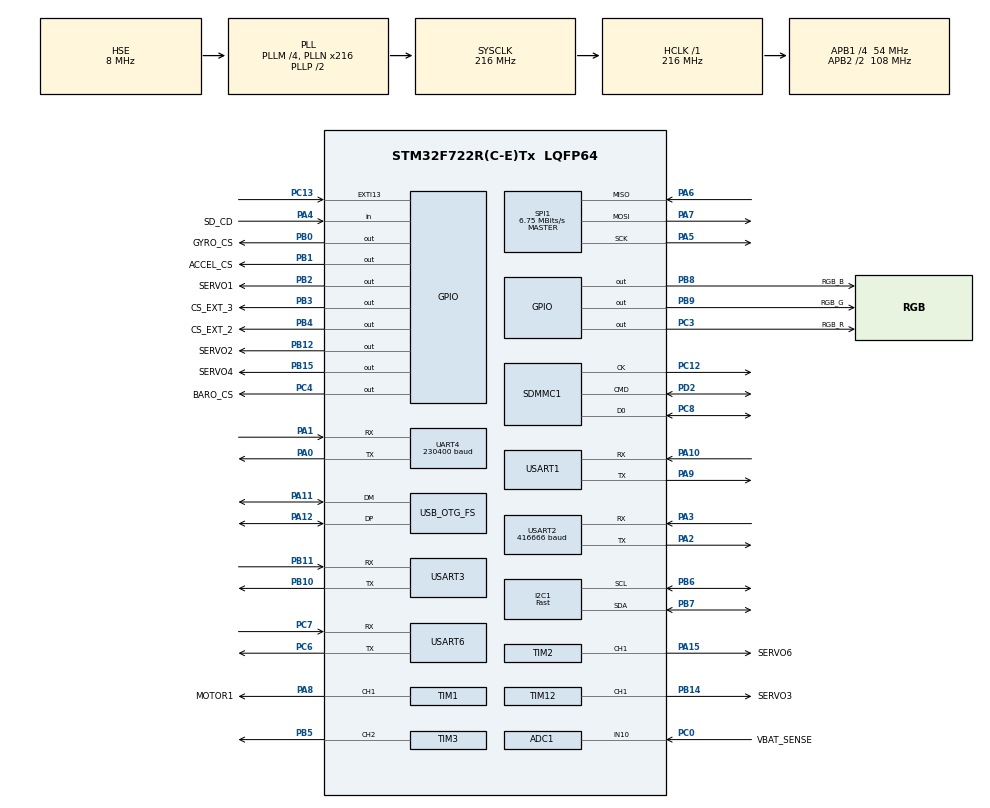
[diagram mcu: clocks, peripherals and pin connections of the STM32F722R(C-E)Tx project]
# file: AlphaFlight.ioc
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ADC1.Channel-3\#ChannelRegularConversion=ADC_CHANNEL_10
ADC1.NbrOfConversionFlag=1
ADC1.Rank-3\#ChannelRegularConversion=1
ADC1.SamplingTime-3\#ChannelRegularConversion=ADC_SAMPLETIME_3CYCLES
ADC1.master=1
CORTEX_M7.default_mode_Activation=1
Dma.Request0=USART2_RX
Dma.Request1=UART4_RX
Dma.Request2=USART2_TX
Dma.Request3=SDMMC1_TX
Dma.Request4=SPI1_RX
Dma.Request5=SPI1_TX
Dma.Request6=TIM1_CH1
Dma.SDMMC1_TX.3.Direction=DMA_MEMORY_TO_PERIPH
Dma.SDMMC1_TX.3.FIFOMode=DMA_FIFOMODE_ENABLE
Dma.SDMMC1_TX.3.FIFOThreshold=DMA_FIFO_THRESHOLD_FULL
Dma.SDMMC1_TX.3.Instance=DMA2_Stream6
Dma.SDMMC1_TX.3.MemBurst=DMA_MBURST_INC4
Dma.SDMMC1_TX.3.MemDataAlignment=DMA_MDATAALIGN_WORD
Dma.SDMMC1_TX.3.MemInc=DMA_MINC_ENABLE
Dma.SDMMC1_TX.3.Mode=DMA_PFCTRL
Dma.SDMMC1_TX.3.PeriphBurst=DMA_PBURST_INC4
Dma.SDMMC1_TX.3.PeriphDataAlignment=DMA_PDATAALIGN_WORD
Dma.SDMMC1_TX.3.PeriphInc=DMA_PINC_DISABLE
Dma.SDMMC1_TX.3.Priority=DMA_PRIORITY_HIGH
Dma.SPI1_RX.4.Direction=DMA_PERIPH_TO_MEMORY
Dma.SPI1_RX.4.FIFOMode=DMA_FIFOMODE_DISABLE
Dma.SPI1_RX.4.Instance=DMA2_Stream0
Dma.SPI1_RX.4.MemDataAlignment=DMA_MDATAALIGN_BYTE
Dma.SPI1_RX.4.MemInc=DMA_MINC_ENABLE
Dma.SPI1_RX.4.Mode=DMA_NORMAL
Dma.SPI1_RX.4.PeriphDataAlignment=DMA_PDATAALIGN_BYTE
Dma.SPI1_RX.4.PeriphInc=DMA_PINC_DISABLE
Dma.SPI1_RX.4.Priority=DMA_PRIORITY_VERY_HIGH
Dma.SPI1_TX.5.Direction=DMA_MEMORY_TO_PERIPH
Dma.SPI1_TX.5.FIFOMode=DMA_FIFOMODE_DISABLE
Dma.SPI1_TX.5.Instance=DMA2_Stream5
Dma.SPI1_TX.5.MemDataAlignment=DMA_MDATAALIGN_BYTE
Dma.SPI1_TX.5.MemInc=DMA_MINC_ENABLE
Dma.SPI1_TX.5.Mode=DMA_NORMAL
Dma.SPI1_TX.5.PeriphDataAlignment=DMA_PDATAALIGN_BYTE
Dma.SPI1_TX.5.PeriphInc=DMA_PINC_DISABLE
Dma.SPI1_TX.5.Priority=DMA_PRIORITY_VERY_HIGH
Dma.TIM1_CH1.6.Direction=DMA_MEMORY_TO_PERIPH
Dma.TIM1_CH1.6.FIFOMode=DMA_FIFOMODE_DISABLE
Dma.TIM1_CH1.6.Instance=DMA2_Stream1
Dma.TIM1_CH1.6.MemDataAlignment=DMA_MDATAALIGN_HALFWORD
Dma.TIM1_CH1.6.MemInc=DMA_MINC_ENABLE
Dma.TIM1_CH1.6.Mode=DMA_NORMAL
Dma.TIM1_CH1.6.PeriphDataAlignment=DMA_PDATAALIGN_HALFWORD
Dma.TIM1_CH1.6.PeriphInc=DMA_PINC_DISABLE
Dma.TIM1_CH1.6.Priority=DMA_PRIORITY_VERY_HIGH
Dma.UART4_RX.1.Direction=DMA_PERIPH_TO_MEMORY
Dma.UART4_RX.1.FIFOMode=DMA_FIFOMODE_DISABLE
Dma.UART4_RX.1.Instance=DMA1_Stream2
Dma.UART4_RX.1.MemDataAlignment=DMA_MDATAALIGN_BYTE
Dma.UART4_RX.1.MemInc=DMA_MINC_ENABLE
Dma.UART4_RX.1.Mode=DMA_CIRCULAR
Dma.UART4_RX.1.PeriphDataAlignment=DMA_PDATAALIGN_BYTE
Dma.UART4_RX.1.PeriphInc=DMA_PINC_DISABLE
Dma.UART4_RX.1.Priority=DMA_PRIORITY_HIGH
Dma.USART2_RX.0.Direction=DMA_PERIPH_TO_MEMORY
Dma.USART2_RX.0.FIFOMode=DMA_FIFOMODE_DISABLE
Dma.USART2_RX.0.Instance=DMA1_Stream5
Dma.USART2_RX.0.MemDataAlignment=DMA_MDATAALIGN_BYTE
Dma.USART2_RX.0.MemInc=DMA_MINC_ENABLE
Dma.USART2_RX.0.Mode=DMA_CIRCULAR
Dma.USART2_RX.0.PeriphDataAlignment=DMA_PDATAALIGN_BYTE
Dma.USART2_RX.0.PeriphInc=DMA_PINC_DISABLE
Dma.USART2_RX.0.Priority=DMA_PRIORITY_VERY_HIGH
Dma.USART2_TX.2.Direction=DMA_MEMORY_TO_PERIPH
Dma.USART2_TX.2.FIFOMode=DMA_FIFOMODE_DISABLE
Dma.USART2_TX.2.Instance=DMA1_Stream6
Dma.USART2_TX.2.MemDataAlignment=DMA_MDATAALIGN_BYTE
Dma.USART2_TX.2.MemInc=DMA_MINC_ENABLE
Dma.USART2_TX.2.Mode=DMA_NORMAL
Dma.USART2_TX.2.PeriphDataAlignment=DMA_PDATAALIGN_BYTE
Dma.USART2_TX.2.PeriphInc=DMA_PINC_DISABLE
Dma.USART2_TX.2.Priority=DMA_PRIORITY_MEDIUM
I2C1.I2C_Speed_Mode=I2C_Fast
I2C1.Timing=0x6000030D
Mcu.Family=STM32F7
Mcu.Name=STM32F722R(C-E)Tx
Mcu.Package=LQFP64
NVIC.DMA1_Stream2_IRQn=true\:0\:0\:false\:false\:true\:false\:true\:true
NVIC.DMA1_Stream5_IRQn=true\:0\:0\:false\:false\:true\:false\:true\:true
NVIC.DMA1_Stream6_IRQn=true\:0\:0\:false\:false\:true\:false\:true\:true
NVIC.DMA2_Stream0_IRQn=true\:0\:0\:false\:false\:true\:false\:true\:true
NVIC.DMA2_Stream1_IRQn=true\:0\:0\:false\:false\:true\:false\:true\:true
NVIC.DMA2_Stream5_IRQn=true\:0\:0\:false\:false\:true\:false\:true\:true
NVIC.DMA2_Stream6_IRQn=true\:0\:0\:false\:false\:true\:false\:true\:true
NVIC.EXTI15_10_IRQn=true\:0\:0\:false\:false\:true\:true\:true\:true
NVIC.OTG_FS_IRQn=true\:0\:0\:false\:false\:true\:false\:true\:true
NVIC.PriorityGroup=NVIC_PRIORITYGROUP_4
NVIC.SDMMC1_IRQn=true\:0\:0\:false\:false\:true\:true\:true\:true
NVIC.TIM1_UP_TIM10_IRQn=true\:0\:0\:false\:false\:true\:true\:true\:true
NVIC.UART4_IRQn=true\:0\:0\:false\:false\:true\:true\:true\:true
NVIC.USART2_IRQn=true\:0\:0\:false\:false\:true\:true\:true\:true
PA0-WKUP.Mode=Asynchronous
PA0-WKUP.Signal=UART4_TX
PA1.Mode=Asynchronous
PA1.Signal=UART4_RX
PA10.Mode=Asynchronous
PA10.Signal=USART1_RX
PA11.Mode=Device_Only
PA11.Signal=USB_OTG_FS_DM
PA12.Mode=Device_Only
PA12.Signal=USB_OTG_FS_DP
PA13.Mode=Serial_Wire
PA13.Signal=SYS_JTMS-SWDIO
PA14.Mode=Serial_Wire
PA14.Signal=SYS_JTCK-SWCLK
PA15.GPIO_Label=SERVO6
PA15.Signal=S_TIM2_CH1_ETR
PA2.Mode=Asynchronous
PA2.Signal=USART2_TX
PA3.Mode=Asynchronous
PA3.Signal=USART2_RX
PA4.GPIO_Label=SD_CD
PA4.GPIO_PuPd=GPIO_PULLUP
PA4.Signal=GPIO_Input
PA5.Mode=Full_Duplex_Master
PA5.Signal=SPI1_SCK
PA6.Mode=Full_Duplex_Master
PA6.Signal=SPI1_MISO
PA7.Mode=Full_Duplex_Master
PA7.Signal=SPI1_MOSI
PA8.GPIO_Label=MOTOR1
PA8.Signal=S_TIM1_CH1
PA9.Mode=Asynchronous
PA9.Signal=USART1_TX
PB0.GPIO_Label=GYRO_CS
PB0.GPIO_PuPd=GPIO_NOPULL
PB0.PinState=GPIO_PIN_SET
PB0.Signal=GPIO_Output
PB1.GPIO_Label=ACCEL_CS
PB1.GPIO_PuPd=GPIO_NOPULL
PB1.PinState=GPIO_PIN_SET
PB1.Signal=GPIO_Output
PB10.Mode=Asynchronous
PB10.Signal=USART3_TX
PB11.Mode=Asynchronous
PB11.Signal=USART3_RX
PB12.GPIO_Label=SERVO2
PB12.GPIO_Speed=GPIO_SPEED_FREQ_VERY_HIGH
PB12.Signal=GPIO_Output
PB13.Signal=SPI2_SCK
PB14.GPIO_Label=SERVO3
PB14.Signal=S_TIM12_CH1
PB15.GPIO_Label=SERVO4
PB15.GPIO_Speed=GPIO_SPEED_FREQ_VERY_HIGH
PB15.Signal=GPIO_Output
PB2.GPIO_Label=SERVO1
PB2.Signal=GPIO_Output
PB3.GPIO_Label=CS_EXT_3
PB3.GPIO_PuPd=GPIO_PULLUP
PB3.PinState=GPIO_PIN_SET
PB3.Signal=GPIO_Output
PB4.GPIO_Label=CS_EXT_2
PB4.GPIO_PuPd=GPIO_PULLUP
PB4.PinState=GPIO_PIN_SET
PB4.Signal=GPIO_Output
PB5.Signal=S_TIM3_CH2
PB6.Mode=I2C
PB6.Signal=I2C1_SCL
PB7.Mode=I2C
PB7.Signal=I2C1_SDA
PB8.GPIO_Label=RGB_B
PB8.GPIO_ModeDefaultOutputPP=GPIO_MODE_OUTPUT_OD
PB8.GPIO_PuPd=GPIO_NOPULL
PB8.PinState=GPIO_PIN_SET
PB8.Signal=GPIO_Output
PB9.GPIO_Label=RGB_G
PB9.GPIO_ModeDefaultOutputPP=GPIO_MODE_OUTPUT_OD
PB9.GPIO_PuPd=GPIO_NOPULL
PB9.PinState=GPIO_PIN_SET
PB9.Signal=GPIO_Output
PC0.GPIO_Label=VBAT_SENSE
PC0.Signal=ADCx_IN10
PC1.Signal=SPI2_MOSI
PC10.Signal=SDMMC1_D2
PC11.Signal=SDMMC1_D3
PC12.Mode=SD_1_bit
PC12.Signal=SDMMC1_CK
PC13.GPIO_ModeDefaultEXTI=GPIO_MODE_IT_FALLING
PC13.GPIO_PuPd=GPIO_PULLUP
PC13.Signal=GPXTI13
PC2.Signal=SPI2_MISO
PC3.GPIO_Label=RGB_R
PC3.GPIO_ModeDefaultOutputPP=GPIO_MODE_OUTPUT_OD
PC3.GPIO_PuPd=GPIO_NOPULL
PC3.PinState=GPIO_PIN_SET
PC3.Signal=GPIO_Output
PC4.GPIO_Label=BARO_CS
PC4.GPIO_PuPd=GPIO_PULLUP
PC4.PinState=GPIO_PIN_SET
PC4.Signal=GPIO_Output
PC6.Mode=Asynchronous
PC6.Signal=USART6_TX
PC7.Mode=Asynchronous
PC7.Signal=USART6_RX
PC8.Mode=SD_1_bit
PC8.Signal=SDMMC1_D0
PC9.Signal=SDMMC1_D1
PD2.Mode=SD_1_bit
PD2.Signal=SDMMC1_CMD
PH0-OSC_IN.Mode=HSE-External-Clock-Source
PH0-OSC_IN.Signal=RCC_OSC_IN
PH1-OSC_OUT.Mode=HSE-External-Clock-Source
PH1-OSC_OUT.Signal=RCC_OSC_OUT
ProjectManager.HeapSize=0x400
ProjectManager.StackSize=0x800
ProjectManager.TargetToolchain=STM32CubeIDE
RCC.AHBFreq_Value=216000000
RCC.APB1CLKDivider=RCC_HCLK_DIV4
RCC.APB1Freq_Value=54000000
RCC.APB1TimFreq_Value=108000000
RCC.APB2CLKDivider=RCC_HCLK_DIV2
RCC.APB2Freq_Value=108000000
RCC.APB2TimFreq_Value=216000000
RCC.CortexFreq_Value=216000000
RCC.EnbaleCSS=true
RCC.HCLKFreq_Value=216000000
RCC.HSE_VALUE=8000000
RCC.HSI_VALUE=16000000
RCC.LSE_VALUE=32768
RCC.PLLM=4
RCC.PLLN=216
RCC.PLLQ=9
RCC.SDMMCClockSelection=RCC_SDMMC1CLKSOURCE_CLK48
RCC.SYSCLKFreq_VALUE=216000000
RCC.SYSCLKSource=RCC_SYSCLKSOURCE_PLLCLK
RCC.USBFreq_Value=48000000
RCC.VCOOutputFreq_Value=432000000
SDMMC1.ClockDiv=4
SH.ADCx_IN10.0=ADC1_IN10,IN10
SH.S_TIM12_CH1.0=TIM12_CH1,PWM Generation1 CH1
SH.S_TIM1_CH1.0=TIM1_CH1,PWM Generation1 CH1
SH.S_TIM2_CH1_ETR.0=TIM2_CH1,PWM Generation1 CH1
SH.S_TIM3_CH2.0=TIM3_CH2,PWM Generation2 CH2
SPI1.BaudRatePrescaler=SPI_BAUDRATEPRESCALER_16
SPI1.CalculateBaudRate=6.75 MBits/s
SPI1.DataSize=SPI_DATASIZE_8BIT
SPI1.Direction=SPI_DIRECTION_2LINES
SPI1.Mode=SPI_MODE_MASTER
SPI1.VirtualType=VM_MASTER
TIM1.AutoReloadPreload=TIM_AUTORELOAD_PRELOAD_ENABLE
TIM1.Channel-PWM\ Generation1\ CH1=TIM_CHANNEL_1
TIM1.OCFastMode_PWM-PWM\ Generation1\ CH1=TIM_OCFAST_DISABLE
TIM1.Period=360
TIM1.Prescaler=0
TIM10.AutoReloadPreload=TIM_AUTORELOAD_PRELOAD_ENABLE
TIM10.Channel=TIM_CHANNEL_1
TIM10.Period=20000
TIM10.Prescaler=215
TIM12.AutoReloadPreload=TIM_AUTORELOAD_PRELOAD_ENABLE
TIM12.Channel-PWM\ Generation1\ CH1=TIM_CHANNEL_1
TIM12.Period=19999
TIM12.Prescaler=107
TIM2.AutoReloadPreload=TIM_AUTORELOAD_PRELOAD_ENABLE
TIM2.Channel-PWM\ Generation1\ CH1=TIM_CHANNEL_1
TIM2.Period=19999
TIM2.Prescaler=107
TIM3.Channel-PWM\ Generation2\ CH2=TIM_CHANNEL_2
TIM5.Prescaler=107
UART4.BaudRate=230400
USART1.VirtualMode-Asynchronous=VM_ASYNC
USART2.BaudRate=416666
USART2.VirtualMode-Asynchronous=VM_ASYNC
USART3.VirtualMode-Asynchronous=VM_ASYNC
USART6.VirtualMode=VM_ASYNC
USB_DEVICE.CLASS_NAME_FS=CDC
USB_DEVICE.VirtualMode-CDC_FS=Cdc
USB_DEVICE.VirtualModeFS=Cdc_FS
USB_OTG_FS.VirtualMode=Device_Only
VP_CRC_VS_CRC.Mode=CRC_Activate
VP_TIM10_VS_ClockSourceINT.Mode=Enable_Timer
VP_TIM10_VS_no_output1.Mode=Output Compare1 No Output
VP_TIM12_VS_ClockSourceINT.Mode=Internal
VP_TIM1_VS_ClockSourceINT.Mode=Internal
VP_TIM2_VS_ClockSourceINT.Mode=Internal
VP_TIM3_VS_ClockSourceINT.Mode=Internal
VP_TIM5_VS_ClockSourceINT.Mode=Internal
VP_USB_DEVICE_VS_USB_DEVICE_CDC_FS.Mode=CDC_FS
board=custom

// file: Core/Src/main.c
/* USER CODE BEGIN Header */
/**
  ******************************************************************************
  * @file           : main.c
  * @brief          : Main program body
  ******************************************************************************
  * @attention
  *
  * Copyright (c) 2025 STMicroelectronics.
  * All rights reserved.
  *
  * This software is licensed under terms that can be found in the LICENSE file
  * in the root directory of this software component.
  * If no LICENSE file comes with this software, it is provided AS-IS.
  *
  ******************************************************************************
  */
/* USER CODE END Header */
#include "main.h"
#include "usb_device.h"

ADC_HandleTypeDef hadc1;

CRC_HandleTypeDef hcrc;

I2C_HandleTypeDef hi2c1;

SD_HandleTypeDef hsd1;
DMA_HandleTypeDef hdma_sdmmc1_tx;

TIM_HandleTypeDef htim1;
TIM_HandleTypeDef htim2;
TIM_HandleTypeDef htim3;
TIM_HandleTypeDef htim5;
TIM_HandleTypeDef htim10;
TIM_HandleTypeDef htim12;
DMA_HandleTypeDef hdma_tim1_ch1;

UART_HandleTypeDef huart4;
UART_HandleTypeDef huart1;
UART_HandleTypeDef huart2;
UART_HandleTypeDef huart3;
UART_HandleTypeDef huart6;
DMA_HandleTypeDef hdma_uart4_rx;
DMA_HandleTypeDef hdma_usart2_rx;
DMA_HandleTypeDef hdma_usart2_tx;

void SystemClock_Config(void);
static void MPU_Config(void);
static void MX_GPIO_Init(void);
static void MX_DMA_Init(void);
static void MX_USART1_UART_Init(void);
static void MX_USART2_UART_Init(void);
static void MX_USART6_UART_Init(void);
static void MX_SPI1_Init(void);
static void MX_I2C1_Init(void);
static void MX_UART4_Init(void);
static void MX_USART3_UART_Init(void);
static void MX_ADC1_Init(void);
static void MX_TIM2_Init(void);
static void MX_TIM10_Init(void);
static void MX_TIM1_Init(void);
static void MX_TIM12_Init(void);
static void MX_TIM5_Init(void);
static void MX_SDMMC1_SD_Init(void);
static void MX_CRC_Init(void);
static void MX_TIM3_Init(void);

int main(void)
{

  /* MPU Configuration--------------------------------------------------------*/
  MPU_Config();

  /* MCU Configuration--------------------------------------------------------*/

  /* Reset of all peripherals, Initializes the Flash interface and the Systick. */
  HAL_Init();

  /* Configure the system clock */
  SystemClock_Config();

  /* Initialize all configured peripherals */
  MX_GPIO_Init();
  MX_DMA_Init();
  MX_USART1_UART_Init();
  MX_USART2_UART_Init();
  MX_USART6_UART_Init();
  MX_SPI1_Init();
  MX_I2C1_Init();
  MX_UART4_Init();
  MX_USART3_UART_Init();
  MX_ADC1_Init();
  MX_USB_DEVICE_Init();
  MX_TIM2_Init();
  MX_TIM10_Init();
  MX_TIM1_Init();
  MX_TIM12_Init();
  MX_TIM5_Init();
  MX_SDMMC1_SD_Init();
  MX_CRC_Init();
  MX_TIM3_Init();

  /* Infinite loop */
  /* USER CODE BEGIN WHILE */
  while (1)
  {

	  uint8_t tx_buf[7]; // your SPI command + dummy bytes
	  uint8_t rx_buf[7]; // buffer for gyro response

	  // RX
	  LL_DMA_DisableStream(DMA2, LL_DMA_STREAM_0);       // make sure disabled
	  LL_DMA_SetMemoryAddress(DMA2, LL_DMA_STREAM_0, (uint32_t)rx_buf);
	  LL_DMA_SetDataLength(DMA2, LL_DMA_STREAM_0, 7);
	  LL_DMA_EnableStream(DMA2, LL_DMA_STREAM_0);

	  // TX
	  LL_DMA_DisableStream(DMA2, LL_DMA_STREAM_5);
	  LL_DMA_SetMemoryAddress(DMA2, LL_DMA_STREAM_5, (uint32_t)tx_buf);
	  LL_DMA_SetDataLength(DMA2, LL_DMA_STREAM_5, 7);
	  LL_DMA_EnableStream(DMA2, LL_DMA_STREAM_5);

	  LL_SPI_EnableDMAReq_RX(SPI1); // allow SPI to trigger RX DMA
	  LL_SPI_EnableDMAReq_TX(SPI1); // allow SPI to trigger TX DMA
	  LL_SPI_Enable(SPI1);           // SPI peripheral starts

	  // on every tick
	  LL_DMA_SetDataLength(DMA2, LL_DMA_STREAM_0, 7);
	  LL_DMA_EnableStream(DMA2, LL_DMA_STREAM_0);

	  LL_DMA_SetDataLength(DMA2, LL_DMA_STREAM_5, 7);
	  LL_DMA_EnableStream(DMA2, LL_DMA_STREAM_5);
    /* USER CODE END WHILE */

  }
}

void SystemClock_Config(void)
{
  RCC_OscInitTypeDef RCC_OscInitStruct = {0};
  RCC_ClkInitTypeDef RCC_ClkInitStruct = {0};

  /** Configure the main internal regulator output voltage
  */
  __HAL_RCC_PWR_CLK_ENABLE();
  __HAL_PWR_VOLTAGESCALING_CONFIG(PWR_REGULATOR_VOLTAGE_SCALE1);

  /** Initializes the RCC Oscillators according to the specified parameters
  * in the RCC_OscInitTypeDef structure.
  */
  RCC_OscInitStruct.OscillatorType = RCC_OSCILLATORTYPE_HSE;
  RCC_OscInitStruct.HSEState = RCC_HSE_BYPASS;
  RCC_OscInitStruct.PLL.PLLState = RCC_PLL_ON;
  RCC_OscInitStruct.PLL.PLLSource = RCC_PLLSOURCE_HSE;
  RCC_OscInitStruct.PLL.PLLM = 4;
  RCC_OscInitStruct.PLL.PLLN = 216;
  RCC_OscInitStruct.PLL.PLLP = RCC_PLLP_DIV2;
  RCC_OscInitStruct.PLL.PLLQ = 9;
  if (HAL_RCC_OscConfig(&RCC_OscInitStruct) != HAL_OK)
  {
    Error_Handler();
  }

  /** Activate the Over-Drive mode
  */
  if (HAL_PWREx_EnableOverDrive() != HAL_OK)
  {
    Error_Handler();
  }

  /** Initializes the CPU, AHB and APB buses clocks
  */
  RCC_ClkInitStruct.ClockType = RCC_CLOCKTYPE_HCLK|RCC_CLOCKTYPE_SYSCLK
                              |RCC_CLOCKTYPE_PCLK1|RCC_CLOCKTYPE_PCLK2;
  RCC_ClkInitStruct.SYSCLKSource = RCC_SYSCLKSOURCE_PLLCLK;
  RCC_ClkInitStruct.AHBCLKDivider = RCC_SYSCLK_DIV1;
  RCC_ClkInitStruct.APB1CLKDivider = RCC_HCLK_DIV4;
  RCC_ClkInitStruct.APB2CLKDivider = RCC_HCLK_DIV2;

  if (HAL_RCC_ClockConfig(&RCC_ClkInitStruct, FLASH_LATENCY_7) != HAL_OK)
  {
    Error_Handler();
  }

  /** Enables the Clock Security System
  */
  HAL_RCC_EnableCSS();
}

static void MX_ADC1_Init(void)
{

  ADC_ChannelConfTypeDef sConfig = {0};

  /** Configure the global features of the ADC (Clock, Resolution, Data Alignment and number of conversion)
  */
  hadc1.Instance = ADC1;
  hadc1.Init.ClockPrescaler = ADC_CLOCK_SYNC_PCLK_DIV4;
  hadc1.Init.Resolution = ADC_RESOLUTION_12B;
  hadc1.Init.ScanConvMode = ADC_SCAN_DISABLE;
  hadc1.Init.ContinuousConvMode = DISABLE;
  hadc1.Init.DiscontinuousConvMode = DISABLE;
  hadc1.Init.ExternalTrigConvEdge = ADC_EXTERNALTRIGCONVEDGE_NONE;
  hadc1.Init.ExternalTrigConv = ADC_SOFTWARE_START;
  hadc1.Init.DataAlign = ADC_DATAALIGN_RIGHT;
  hadc1.Init.NbrOfConversion = 1;
  hadc1.Init.DMAContinuousRequests = DISABLE;
  hadc1.Init.EOCSelection = ADC_EOC_SINGLE_CONV;
  if (HAL_ADC_Init(&hadc1) != HAL_OK)
  {
    Error_Handler();
  }

  /** Configure for the selected ADC regular channel its corresponding rank in the sequencer and its sample time.
  */
  sConfig.Channel = ADC_CHANNEL_10;
  sConfig.Rank = ADC_REGULAR_RANK_1;
  sConfig.SamplingTime = ADC_SAMPLETIME_3CYCLES;
  if (HAL_ADC_ConfigChannel(&hadc1, &sConfig) != HAL_OK)
  {
    Error_Handler();
  }

}

static void MX_CRC_Init(void)
{

  hcrc.Instance = CRC;
  hcrc.Init.DefaultPolynomialUse = DEFAULT_POLYNOMIAL_ENABLE;
  hcrc.Init.DefaultInitValueUse = DEFAULT_INIT_VALUE_ENABLE;
  hcrc.Init.InputDataInversionMode = CRC_INPUTDATA_INVERSION_NONE;
  hcrc.Init.OutputDataInversionMode = CRC_OUTPUTDATA_INVERSION_DISABLE;
  hcrc.InputDataFormat = CRC_INPUTDATA_FORMAT_BYTES;
  if (HAL_CRC_Init(&hcrc) != HAL_OK)
  {
    Error_Handler();
  }

}

static void MX_I2C1_Init(void)
{

  hi2c1.Instance = I2C1;
  hi2c1.Init.Timing = 0x6000030D;
  hi2c1.Init.OwnAddress1 = 0;
  hi2c1.Init.AddressingMode = I2C_ADDRESSINGMODE_7BIT;
  hi2c1.Init.DualAddressMode = I2C_DUALADDRESS_DISABLE;
  hi2c1.Init.OwnAddress2 = 0;
  hi2c1.Init.OwnAddress2Masks = I2C_OA2_NOMASK;
  hi2c1.Init.GeneralCallMode = I2C_GENERALCALL_DISABLE;
  hi2c1.Init.NoStretchMode = I2C_NOSTRETCH_DISABLE;
  if (HAL_I2C_Init(&hi2c1) != HAL_OK)
  {
    Error_Handler();
  }

  /** Configure Analogue filter
  */
  if (HAL_I2CEx_ConfigAnalogFilter(&hi2c1, I2C_ANALOGFILTER_ENABLE) != HAL_OK)
  {
    Error_Handler();
  }

  /** Configure Digital filter
  */
  if (HAL_I2CEx_ConfigDigitalFilter(&hi2c1, 0) != HAL_OK)
  {
    Error_Handler();
  }

}

static void MX_SDMMC1_SD_Init(void)
{

  hsd1.Instance = SDMMC1;
  hsd1.Init.ClockEdge = SDMMC_CLOCK_EDGE_RISING;
  hsd1.Init.ClockBypass = SDMMC_CLOCK_BYPASS_DISABLE;
  hsd1.Init.ClockPowerSave = SDMMC_CLOCK_POWER_SAVE_DISABLE;
  hsd1.Init.BusWide = SDMMC_BUS_WIDE_1B;
  hsd1.Init.HardwareFlowControl = SDMMC_HARDWARE_FLOW_CONTROL_DISABLE;
  hsd1.Init.ClockDiv = 4;
  if (HAL_SD_Init(&hsd1) != HAL_OK)
  {
    Error_Handler();
  }

}

static void MX_SPI1_Init(void)
{

  LL_SPI_InitTypeDef SPI_InitStruct = {0};

  LL_GPIO_InitTypeDef GPIO_InitStruct = {0};

  /* Peripheral clock enable */
  LL_APB2_GRP1_EnableClock(LL_APB2_GRP1_PERIPH_SPI1);

  LL_AHB1_GRP1_EnableClock(LL_AHB1_GRP1_PERIPH_GPIOA);
  /**SPI1 GPIO Configuration
  PA5   ------> SPI1_SCK
  PA6   ------> SPI1_MISO
  PA7   ------> SPI1_MOSI
  */
  GPIO_InitStruct.Pin = LL_GPIO_PIN_5;
  GPIO_InitStruct.Mode = LL_GPIO_MODE_ALTERNATE;
  GPIO_InitStruct.Speed = LL_GPIO_SPEED_FREQ_VERY_HIGH;
  GPIO_InitStruct.OutputType = LL_GPIO_OUTPUT_PUSHPULL;
  GPIO_InitStruct.Pull = LL_GPIO_PULL_NO;
  GPIO_InitStruct.Alternate = LL_GPIO_AF_5;
  LL_GPIO_Init(GPIOA, &GPIO_InitStruct);

  GPIO_InitStruct.Pin = LL_GPIO_PIN_6;
  GPIO_InitStruct.Mode = LL_GPIO_MODE_ALTERNATE;
  GPIO_InitStruct.Speed = LL_GPIO_SPEED_FREQ_VERY_HIGH;
  GPIO_InitStruct.OutputType = LL_GPIO_OUTPUT_PUSHPULL;
  GPIO_InitStruct.Pull = LL_GPIO_PULL_NO;
  GPIO_InitStruct.Alternate = LL_GPIO_AF_5;
  LL_GPIO_Init(GPIOA, &GPIO_InitStruct);

  GPIO_InitStruct.Pin = LL_GPIO_PIN_7;
  GPIO_InitStruct.Mode = LL_GPIO_MODE_ALTERNATE;
  GPIO_InitStruct.Speed = LL_GPIO_SPEED_FREQ_VERY_HIGH;
  GPIO_InitStruct.OutputType = LL_GPIO_OUTPUT_PUSHPULL;
  GPIO_InitStruct.Pull = LL_GPIO_PULL_NO;
  GPIO_InitStruct.Alternate = LL_GPIO_AF_5;
  LL_GPIO_Init(GPIOA, &GPIO_InitStruct);

  /* SPI1 DMA Init */

  /* SPI1_RX Init */
  LL_DMA_SetChannelSelection(DMA2, LL_DMA_STREAM_0, LL_DMA_CHANNEL_3);

  LL_DMA_SetDataTransferDirection(DMA2, LL_DMA_STREAM_0, LL_DMA_DIRECTION_PERIPH_TO_MEMORY);

  LL_DMA_SetStreamPriorityLevel(DMA2, LL_DMA_STREAM_0, LL_DMA_PRIORITY_VERYHIGH);

  LL_DMA_SetMode(DMA2, LL_DMA_STREAM_0, LL_DMA_MODE_NORMAL);

  LL_DMA_SetPeriphIncMode(DMA2, LL_DMA_STREAM_0, LL_DMA_PERIPH_NOINCREMENT);

  LL_DMA_SetMemoryIncMode(DMA2, LL_DMA_STREAM_0, LL_DMA_MEMORY_INCREMENT);

  LL_DMA_SetPeriphSize(DMA2, LL_DMA_STREAM_0, LL_DMA_PDATAALIGN_BYTE);

  LL_DMA_SetMemorySize(DMA2, LL_DMA_STREAM_0, LL_DMA_MDATAALIGN_BYTE);

  LL_DMA_DisableFifoMode(DMA2, LL_DMA_STREAM_0);

  /* SPI1_TX Init */
  LL_DMA_SetChannelSelection(DMA2, LL_DMA_STREAM_5, LL_DMA_CHANNEL_3);

  LL_DMA_SetDataTransferDirection(DMA2, LL_DMA_STREAM_5, LL_DMA_DIRECTION_MEMORY_TO_PERIPH);

  LL_DMA_SetStreamPriorityLevel(DMA2, LL_DMA_STREAM_5, LL_DMA_PRIORITY_VERYHIGH);

  LL_DMA_SetMode(DMA2, LL_DMA_STREAM_5, LL_DMA_MODE_NORMAL);

  LL_DMA_SetPeriphIncMode(DMA2, LL_DMA_STREAM_5, LL_DMA_PERIPH_NOINCREMENT);

  LL_DMA_SetMemoryIncMode(DMA2, LL_DMA_STREAM_5, LL_DMA_MEMORY_INCREMENT);

  LL_DMA_SetPeriphSize(DMA2, LL_DMA_STREAM_5, LL_DMA_PDATAALIGN_BYTE);

  LL_DMA_SetMemorySize(DMA2, LL_DMA_STREAM_5, LL_DMA_MDATAALIGN_BYTE);

  LL_DMA_DisableFifoMode(DMA2, LL_DMA_STREAM_5);

  /* SPI1 parameter configuration*/
  SPI_InitStruct.TransferDirection = LL_SPI_FULL_DUPLEX;
  SPI_InitStruct.Mode = LL_SPI_MODE_MASTER;
  SPI_InitStruct.DataWidth = LL_SPI_DATAWIDTH_8BIT;
  SPI_InitStruct.ClockPolarity = LL_SPI_POLARITY_LOW;
  SPI_InitStruct.ClockPhase = LL_SPI_PHASE_1EDGE;
  SPI_InitStruct.NSS = LL_SPI_NSS_SOFT;
  SPI_InitStruct.BaudRate = LL_SPI_BAUDRATEPRESCALER_DIV16;
  SPI_InitStruct.BitOrder = LL_SPI_MSB_FIRST;
  SPI_InitStruct.CRCCalculation = LL_SPI_CRCCALCULATION_DISABLE;
  SPI_InitStruct.CRCPoly = 7;
  LL_SPI_Init(SPI1, &SPI_InitStruct);
  LL_SPI_SetStandard(SPI1, LL_SPI_PROTOCOL_MOTOROLA);
  LL_SPI_EnableNSSPulseMgt(SPI1);

}

static void MX_TIM1_Init(void)
{

  TIM_ClockConfigTypeDef sClockSourceConfig = {0};
  TIM_MasterConfigTypeDef sMasterConfig = {0};
  TIM_OC_InitTypeDef sConfigOC = {0};
  TIM_BreakDeadTimeConfigTypeDef sBreakDeadTimeConfig = {0};

  htim1.Instance = TIM1;
  htim1.Init.Prescaler = 0;
  htim1.Init.CounterMode = TIM_COUNTERMODE_UP;
  htim1.Init.Period = 360;
  htim1.Init.ClockDivision = TIM_CLOCKDIVISION_DIV1;
  htim1.Init.RepetitionCounter = 0;
  htim1.Init.AutoReloadPreload = TIM_AUTORELOAD_PRELOAD_ENABLE;
  if (HAL_TIM_Base_Init(&htim1) != HAL_OK)
  {
    Error_Handler();
  }
  sClockSourceConfig.ClockSource = TIM_CLOCKSOURCE_INTERNAL;
  if (HAL_TIM_ConfigClockSource(&htim1, &sClockSourceConfig) != HAL_OK)
  {
    Error_Handler();
  }
  if (HAL_TIM_PWM_Init(&htim1) != HAL_OK)
  {
    Error_Handler();
  }
  sMasterConfig.MasterOutputTrigger = TIM_TRGO_RESET;
  sMasterConfig.MasterOutputTrigger2 = TIM_TRGO2_RESET;
  sMasterConfig.MasterSlaveMode = TIM_MASTERSLAVEMODE_DISABLE;
  if (HAL_TIMEx_MasterConfigSynchronization(&htim1, &sMasterConfig) != HAL_OK)
  {
    Error_Handler();
  }
  sConfigOC.OCMode = TIM_OCMODE_PWM1;
  sConfigOC.Pulse = 0;
  sConfigOC.OCPolarity = TIM_OCPOLARITY_HIGH;
  sConfigOC.OCNPolarity = TIM_OCNPOLARITY_HIGH;
  sConfigOC.OCFastMode = TIM_OCFAST_DISABLE;
  sConfigOC.OCIdleState = TIM_OCIDLESTATE_RESET;
  sConfigOC.OCNIdleState = TIM_OCNIDLESTATE_RESET;
  if (HAL_TIM_PWM_ConfigChannel(&htim1, &sConfigOC, TIM_CHANNEL_1) != HAL_OK)
  {
    Error_Handler();
  }
  sBreakDeadTimeConfig.OffStateRunMode = TIM_OSSR_DISABLE;
  sBreakDeadTimeConfig.OffStateIDLEMode = TIM_OSSI_DISABLE;
  sBreakDeadTimeConfig.LockLevel = TIM_LOCKLEVEL_OFF;
  sBreakDeadTimeConfig.DeadTime = 0;
  sBreakDeadTimeConfig.BreakState = TIM_BREAK_DISABLE;
  sBreakDeadTimeConfig.BreakPolarity = TIM_BREAKPOLARITY_HIGH;
  sBreakDeadTimeConfig.BreakFilter = 0;
  sBreakDeadTimeConfig.Break2State = TIM_BREAK2_DISABLE;
  sBreakDeadTimeConfig.Break2Polarity = TIM_BREAK2POLARITY_HIGH;
  sBreakDeadTimeConfig.Break2Filter = 0;
  sBreakDeadTimeConfig.AutomaticOutput = TIM_AUTOMATICOUTPUT_DISABLE;
  if (HAL_TIMEx_ConfigBreakDeadTime(&htim1, &sBreakDeadTimeConfig) != HAL_OK)
  {
    Error_Handler();
  }
  HAL_TIM_MspPostInit(&htim1);

}

static void MX_TIM2_Init(void)
{

  TIM_ClockConfigTypeDef sClockSourceConfig = {0};
  TIM_MasterConfigTypeDef sMasterConfig = {0};
  TIM_OC_InitTypeDef sConfigOC = {0};

  htim2.Instance = TIM2;
  htim2.Init.Prescaler = 107;
  htim2.Init.CounterMode = TIM_COUNTERMODE_UP;
  htim2.Init.Period = 19999;
  htim2.Init.ClockDivision = TIM_CLOCKDIVISION_DIV1;
  htim2.Init.AutoReloadPreload = TIM_AUTORELOAD_PRELOAD_ENABLE;
  if (HAL_TIM_Base_Init(&htim2) != HAL_OK)
  {
    Error_Handler();
  }
  sClockSourceConfig.ClockSource = TIM_CLOCKSOURCE_INTERNAL;
  if (HAL_TIM_ConfigClockSource(&htim2, &sClockSourceConfig) != HAL_OK)
  {
    Error_Handler();
  }
  if (HAL_TIM_PWM_Init(&htim2) != HAL_OK)
  {
    Error_Handler();
  }
  sMasterConfig.MasterOutputTrigger = TIM_TRGO_RESET;
  sMasterConfig.MasterSlaveMode = TIM_MASTERSLAVEMODE_DISABLE;
  if (HAL_TIMEx_MasterConfigSynchronization(&htim2, &sMasterConfig) != HAL_OK)
  {
    Error_Handler();
  }
  sConfigOC.OCMode = TIM_OCMODE_PWM1;
  sConfigOC.Pulse = 0;
  sConfigOC.OCPolarity = TIM_OCPOLARITY_HIGH;
  sConfigOC.OCFastMode = TIM_OCFAST_DISABLE;
  if (HAL_TIM_PWM_ConfigChannel(&htim2, &sConfigOC, TIM_CHANNEL_1) != HAL_OK)
  {
    Error_Handler();
  }
  HAL_TIM_MspPostInit(&htim2);

}

static void MX_TIM3_Init(void)
{

  TIM_ClockConfigTypeDef sClockSourceConfig = {0};
  TIM_MasterConfigTypeDef sMasterConfig = {0};
  TIM_OC_InitTypeDef sConfigOC = {0};

  htim3.Instance = TIM3;
  htim3.Init.Prescaler = 0;
  htim3.Init.CounterMode = TIM_COUNTERMODE_UP;
  htim3.Init.Period = 65535;
  htim3.Init.ClockDivision = TIM_CLOCKDIVISION_DIV1;
  htim3.Init.AutoReloadPreload = TIM_AUTORELOAD_PRELOAD_DISABLE;
  if (HAL_TIM_Base_Init(&htim3) != HAL_OK)
  {
    Error_Handler();
  }
  sClockSourceConfig.ClockSource = TIM_CLOCKSOURCE_INTERNAL;
  if (HAL_TIM_ConfigClockSource(&htim3, &sClockSourceConfig) != HAL_OK)
  {
    Error_Handler();
  }
  if (HAL_TIM_PWM_Init(&htim3) != HAL_OK)
  {
    Error_Handler();
  }
  sMasterConfig.MasterOutputTrigger = TIM_TRGO_RESET;
  sMasterConfig.MasterSlaveMode = TIM_MASTERSLAVEMODE_DISABLE;
  if (HAL_TIMEx_MasterConfigSynchronization(&htim3, &sMasterConfig) != HAL_OK)
  {
    Error_Handler();
  }
  sConfigOC.OCMode = TIM_OCMODE_PWM1;
  sConfigOC.Pulse = 0;
  sConfigOC.OCPolarity = TIM_OCPOLARITY_HIGH;
  sConfigOC.OCFastMode = TIM_OCFAST_DISABLE;
  if (HAL_TIM_PWM_ConfigChannel(&htim3, &sConfigOC, TIM_CHANNEL_2) != HAL_OK)
  {
    Error_Handler();
  }
  HAL_TIM_MspPostInit(&htim3);

}

static void MX_TIM5_Init(void)
{

  TIM_ClockConfigTypeDef sClockSourceConfig = {0};
  TIM_MasterConfigTypeDef sMasterConfig = {0};

  htim5.Instance = TIM5;
  htim5.Init.Prescaler = 107;
  htim5.Init.CounterMode = TIM_COUNTERMODE_UP;
  htim5.Init.Period = 4294967295;
  htim5.Init.ClockDivision = TIM_CLOCKDIVISION_DIV1;
  htim5.Init.AutoReloadPreload = TIM_AUTORELOAD_PRELOAD_DISABLE;
  if (HAL_TIM_Base_Init(&htim5) != HAL_OK)
  {
    Error_Handler();
  }
  sClockSourceConfig.ClockSource = TIM_CLOCKSOURCE_INTERNAL;
  if (HAL_TIM_ConfigClockSource(&htim5, &sClockSourceConfig) != HAL_OK)
  {
    Error_Handler();
  }
  sMasterConfig.MasterOutputTrigger = TIM_TRGO_RESET;
  sMasterConfig.MasterSlaveMode = TIM_MASTERSLAVEMODE_DISABLE;
  if (HAL_TIMEx_MasterConfigSynchronization(&htim5, &sMasterConfig) != HAL_OK)
  {
    Error_Handler();
  }

}

static void MX_TIM10_Init(void)
{

  TIM_OC_InitTypeDef sConfigOC = {0};

  htim10.Instance = TIM10;
  htim10.Init.Prescaler = 215;
  htim10.Init.CounterMode = TIM_COUNTERMODE_UP;
  htim10.Init.Period = 20000;
  htim10.Init.ClockDivision = TIM_CLOCKDIVISION_DIV1;
  htim10.Init.AutoReloadPreload = TIM_AUTORELOAD_PRELOAD_ENABLE;
  if (HAL_TIM_Base_Init(&htim10) != HAL_OK)
  {
    Error_Handler();
  }
  if (HAL_TIM_OC_Init(&htim10) != HAL_OK)
  {
    Error_Handler();
  }
  sConfigOC.OCMode = TIM_OCMODE_TIMING;
  sConfigOC.Pulse = 0;
  sConfigOC.OCPolarity = TIM_OCPOLARITY_HIGH;
  sConfigOC.OCFastMode = TIM_OCFAST_DISABLE;
  if (HAL_TIM_OC_ConfigChannel(&htim10, &sConfigOC, TIM_CHANNEL_1) != HAL_OK)
  {
    Error_Handler();
  }

}

static void MX_TIM12_Init(void)
{

  TIM_ClockConfigTypeDef sClockSourceConfig = {0};
  TIM_OC_InitTypeDef sConfigOC = {0};

  htim12.Instance = TIM12;
  htim12.Init.Prescaler = 107;
  htim12.Init.CounterMode = TIM_COUNTERMODE_UP;
  htim12.Init.Period = 19999;
  htim12.Init.ClockDivision = TIM_CLOCKDIVISION_DIV1;
  htim12.Init.AutoReloadPreload = TIM_AUTORELOAD_PRELOAD_ENABLE;
  if (HAL_TIM_Base_Init(&htim12) != HAL_OK)
  {
    Error_Handler();
  }
  sClockSourceConfig.ClockSource = TIM_CLOCKSOURCE_INTERNAL;
  if (HAL_TIM_ConfigClockSource(&htim12, &sClockSourceConfig) != HAL_OK)
  {
    Error_Handler();
  }
  if (HAL_TIM_PWM_Init(&htim12) != HAL_OK)
  {
    Error_Handler();
  }
  sConfigOC.OCMode = TIM_OCMODE_PWM1;
  sConfigOC.Pulse = 0;
  sConfigOC.OCPolarity = TIM_OCPOLARITY_HIGH;
  sConfigOC.OCFastMode = TIM_OCFAST_DISABLE;
  if (HAL_TIM_PWM_ConfigChannel(&htim12, &sConfigOC, TIM_CHANNEL_1) != HAL_OK)
  {
    Error_Handler();
  }
  HAL_TIM_MspPostInit(&htim12);

}

static void MX_UART4_Init(void)
{

  huart4.Instance = UART4;
  huart4.Init.BaudRate = 230400;
  huart4.Init.WordLength = UART_WORDLENGTH_8B;
  huart4.Init.StopBits = UART_STOPBITS_1;
  huart4.Init.Parity = UART_PARITY_NONE;
  huart4.Init.Mode = UART_MODE_TX_RX;
  huart4.Init.HwFlowCtl = UART_HWCONTROL_NONE;
  huart4.Init.OverSampling = UART_OVERSAMPLING_16;
  huart4.Init.OneBitSampling = UART_ONE_BIT_SAMPLE_DISABLE;
  huart4.AdvancedInit.AdvFeatureInit = UART_ADVFEATURE_NO_INIT;
  if (HAL_UART_Init(&huart4) != HAL_OK)
  {
    Error_Handler();
  }

}

static void MX_USART1_UART_Init(void)
{

  huart1.Instance = USART1;
  huart1.Init.BaudRate = 115200;
  huart1.Init.WordLength = UART_WORDLENGTH_8B;
  huart1.Init.StopBits = UART_STOPBITS_1;
  huart1.Init.Parity = UART_PARITY_NONE;
  huart1.Init.Mode = UART_MODE_TX_RX;
  huart1.Init.HwFlowCtl = UART_HWCONTROL_NONE;
  huart1.Init.OverSampling = UART_OVERSAMPLING_16;
  huart1.Init.OneBitSampling = UART_ONE_BIT_SAMPLE_DISABLE;
  huart1.AdvancedInit.AdvFeatureInit = UART_ADVFEATURE_NO_INIT;
  if (HAL_UART_Init(&huart1) != HAL_OK)
  {
    Error_Handler();
  }

}

static void MX_USART2_UART_Init(void)
{

  huart2.Instance = USART2;
  huart2.Init.BaudRate = 416666;
  huart2.Init.WordLength = UART_WORDLENGTH_8B;
  huart2.Init.StopBits = UART_STOPBITS_1;
  huart2.Init.Parity = UART_PARITY_NONE;
  huart2.Init.Mode = UART_MODE_TX_RX;
  huart2.Init.HwFlowCtl = UART_HWCONTROL_NONE;
  huart2.Init.OverSampling = UART_OVERSAMPLING_16;
  huart2.Init.OneBitSampling = UART_ONE_BIT_SAMPLE_DISABLE;
  huart2.AdvancedInit.AdvFeatureInit = UART_ADVFEATURE_NO_INIT;
  if (HAL_UART_Init(&huart2) != HAL_OK)
  {
    Error_Handler();
  }

}

static void MX_USART3_UART_Init(void)
{

  huart3.Instance = USART3;
  huart3.Init.BaudRate = 115200;
  huart3.Init.WordLength = UART_WORDLENGTH_8B;
  huart3.Init.StopBits = UART_STOPBITS_1;
  huart3.Init.Parity = UART_PARITY_NONE;
  huart3.Init.Mode = UART_MODE_TX_RX;
  huart3.Init.HwFlowCtl = UART_HWCONTROL_NONE;
  huart3.Init.OverSampling = UART_OVERSAMPLING_16;
  huart3.Init.OneBitSampling = UART_ONE_BIT_SAMPLE_DISABLE;
  huart3.AdvancedInit.AdvFeatureInit = UART_ADVFEATURE_NO_INIT;
  if (HAL_UART_Init(&huart3) != HAL_OK)
  {
    Error_Handler();
  }

}

static void MX_USART6_UART_Init(void)
{

  huart6.Instance = USART6;
  huart6.Init.BaudRate = 115200;
  huart6.Init.WordLength = UART_WORDLENGTH_8B;
  huart6.Init.StopBits = UART_STOPBITS_1;
  huart6.Init.Parity = UART_PARITY_NONE;
  huart6.Init.Mode = UART_MODE_TX_RX;
  huart6.Init.HwFlowCtl = UART_HWCONTROL_NONE;
  huart6.Init.OverSampling = UART_OVERSAMPLING_16;
  huart6.Init.OneBitSampling = UART_ONE_BIT_SAMPLE_DISABLE;
  huart6.AdvancedInit.AdvFeatureInit = UART_ADVFEATURE_NO_INIT;
  if (HAL_UART_Init(&huart6) != HAL_OK)
  {
    Error_Handler();
  }

}

static void MX_DMA_Init(void)
{

  /* DMA controller clock enable */
  __HAL_RCC_DMA1_CLK_ENABLE();
  __HAL_RCC_DMA2_CLK_ENABLE();

  /* DMA interrupt init */
  /* DMA1_Stream2_IRQn interrupt configuration */
  HAL_NVIC_SetPriority(DMA1_Stream2_IRQn, 0, 0);
  HAL_NVIC_EnableIRQ(DMA1_Stream2_IRQn);
  /* DMA1_Stream5_IRQn interrupt configuration */
  HAL_NVIC_SetPriority(DMA1_Stream5_IRQn, 0, 0);
  HAL_NVIC_EnableIRQ(DMA1_Stream5_IRQn);
  /* DMA1_Stream6_IRQn interrupt configuration */
  HAL_NVIC_SetPriority(DMA1_Stream6_IRQn, 0, 0);
  HAL_NVIC_EnableIRQ(DMA1_Stream6_IRQn);
  /* DMA2_Stream0_IRQn interrupt configuration */
  NVIC_SetPriority(DMA2_Stream0_IRQn, NVIC_EncodePriority(NVIC_GetPriorityGrouping(),0, 0));
  NVIC_EnableIRQ(DMA2_Stream0_IRQn);
  /* DMA2_Stream1_IRQn interrupt configuration */
  HAL_NVIC_SetPriority(DMA2_Stream1_IRQn, 0, 0);
  HAL_NVIC_EnableIRQ(DMA2_Stream1_IRQn);
  /* DMA2_Stream5_IRQn interrupt configuration */
  NVIC_SetPriority(DMA2_Stream5_IRQn, NVIC_EncodePriority(NVIC_GetPriorityGrouping(),0, 0));
  NVIC_EnableIRQ(DMA2_Stream5_IRQn);
  /* DMA2_Stream6_IRQn interrupt configuration */
  HAL_NVIC_SetPriority(DMA2_Stream6_IRQn, 0, 0);
  HAL_NVIC_EnableIRQ(DMA2_Stream6_IRQn);

}

static void MX_GPIO_Init(void)
{
  LL_EXTI_InitTypeDef EXTI_InitStruct = {0};
  LL_GPIO_InitTypeDef GPIO_InitStruct = {0};

  /* GPIO Ports Clock Enable */
  LL_AHB1_GRP1_EnableClock(LL_AHB1_GRP1_PERIPH_GPIOC);
  LL_AHB1_GRP1_EnableClock(LL_AHB1_GRP1_PERIPH_GPIOH);
  LL_AHB1_GRP1_EnableClock(LL_AHB1_GRP1_PERIPH_GPIOA);
  LL_AHB1_GRP1_EnableClock(LL_AHB1_GRP1_PERIPH_GPIOB);
  LL_AHB1_GRP1_EnableClock(LL_AHB1_GRP1_PERIPH_GPIOD);

  /**/
  LL_GPIO_SetOutputPin(RGB_R_GPIO_Port, RGB_R_Pin);

  /**/
  LL_GPIO_SetOutputPin(BARO_CS_GPIO_Port, BARO_CS_Pin);

  /**/
  LL_GPIO_SetOutputPin(GYRO_CS_GPIO_Port, GYRO_CS_Pin);

  /**/
  LL_GPIO_SetOutputPin(ACCEL_CS_GPIO_Port, ACCEL_CS_Pin);

  /**/
  LL_GPIO_SetOutputPin(CS_EXT_3_GPIO_Port, CS_EXT_3_Pin);

  /**/
  LL_GPIO_SetOutputPin(CS_EXT_2_GPIO_Port, CS_EXT_2_Pin);

  /**/
  LL_GPIO_SetOutputPin(RGB_B_GPIO_Port, RGB_B_Pin);

  /**/
  LL_GPIO_SetOutputPin(RGB_G_GPIO_Port, RGB_G_Pin);

  /**/
  LL_GPIO_ResetOutputPin(SERVO1_GPIO_Port, SERVO1_Pin);

  /**/
  LL_GPIO_ResetOutputPin(SERVO2_GPIO_Port, SERVO2_Pin);

  /**/
  LL_GPIO_ResetOutputPin(SERVO4_GPIO_Port, SERVO4_Pin);

  /**/
  LL_SYSCFG_SetEXTISource(LL_SYSCFG_EXTI_PORTC, LL_SYSCFG_EXTI_LINE13);

  /**/
  EXTI_InitStruct.Line_0_31 = LL_EXTI_LINE_13;
  EXTI_InitStruct.LineCommand = ENABLE;
  EXTI_InitStruct.Mode = LL_EXTI_MODE_IT;
  EXTI_InitStruct.Trigger = LL_EXTI_TRIGGER_FALLING;
  LL_EXTI_Init(&EXTI_InitStruct);

  /**/
  LL_GPIO_SetPinPull(GPIOC, LL_GPIO_PIN_13, LL_GPIO_PULL_UP);

  /**/
  LL_GPIO_SetPinMode(GPIOC, LL_GPIO_PIN_13, LL_GPIO_MODE_INPUT);

  /**/
  GPIO_InitStruct.Pin = LL_GPIO_PIN_1;
  GPIO_InitStruct.Mode = LL_GPIO_MODE_ALTERNATE;
  GPIO_InitStruct.Speed = LL_GPIO_SPEED_FREQ_VERY_HIGH;
  GPIO_InitStruct.OutputType = LL_GPIO_OUTPUT_PUSHPULL;
  GPIO_InitStruct.Pull = LL_GPIO_PULL_NO;
  GPIO_InitStruct.Alternate = LL_GPIO_AF_5;
  LL_GPIO_Init(GPIOC, &GPIO_InitStruct);

  /**/
  GPIO_InitStruct.Pin = LL_GPIO_PIN_2;
  GPIO_InitStruct.Mode = LL_GPIO_MODE_ALTERNATE;
  GPIO_InitStruct.Speed = LL_GPIO_SPEED_FREQ_VERY_HIGH;
  GPIO_InitStruct.OutputType = LL_GPIO_OUTPUT_PUSHPULL;
  GPIO_InitStruct.Pull = LL_GPIO_PULL_NO;
  GPIO_InitStruct.Alternate = LL_GPIO_AF_5;
  LL_GPIO_Init(GPIOC, &GPIO_InitStruct);

  /**/
  GPIO_InitStruct.Pin = RGB_R_Pin;
  GPIO_InitStruct.Mode = LL_GPIO_MODE_OUTPUT;
  GPIO_InitStruct.Speed = LL_GPIO_SPEED_FREQ_LOW;
  GPIO_InitStruct.OutputType = LL_GPIO_OUTPUT_OPENDRAIN;
  GPIO_InitStruct.Pull = LL_GPIO_PULL_NO;
  LL_GPIO_Init(RGB_R_GPIO_Port, &GPIO_InitStruct);

  /**/
  GPIO_InitStruct.Pin = SD_CD_Pin;
  GPIO_InitStruct.Mode = LL_GPIO_MODE_INPUT;
  GPIO_InitStruct.Pull = LL_GPIO_PULL_UP;
  LL_GPIO_Init(SD_CD_GPIO_Port, &GPIO_InitStruct);

  /**/
  GPIO_InitStruct.Pin = BARO_CS_Pin;
  GPIO_InitStruct.Mode = LL_GPIO_MODE_OUTPUT;
  GPIO_InitStruct.Speed = LL_GPIO_SPEED_FREQ_LOW;
  GPIO_InitStruct.OutputType = LL_GPIO_OUTPUT_PUSHPULL;
  GPIO_InitStruct.Pull = LL_GPIO_PULL_UP;
  LL_GPIO_Init(BARO_CS_GPIO_Port, &GPIO_InitStruct);

  /**/
  GPIO_InitStruct.Pin = GYRO_CS_Pin;
  GPIO_InitStruct.Mode = LL_GPIO_MODE_OUTPUT;
  GPIO_InitStruct.Speed = LL_GPIO_SPEED_FREQ_LOW;
  GPIO_InitStruct.OutputType = LL_GPIO_OUTPUT_PUSHPULL;
  GPIO_InitStruct.Pull = LL_GPIO_PULL_NO;
  LL_GPIO_Init(GYRO_CS_GPIO_Port, &GPIO_InitStruct);

  /**/
  GPIO_InitStruct.Pin = ACCEL_CS_Pin;
  GPIO_InitStruct.Mode = LL_GPIO_MODE_OUTPUT;
  GPIO_InitStruct.Speed = LL_GPIO_SPEED_FREQ_LOW;
  GPIO_InitStruct.OutputType = LL_GPIO_OUTPUT_PUSHPULL;
  GPIO_InitStruct.Pull = LL_GPIO_PULL_NO;
  LL_GPIO_Init(ACCEL_CS_GPIO_Port, &GPIO_InitStruct);

  /**/
  GPIO_InitStruct.Pin = SERVO1_Pin;
  GPIO_InitStruct.Mode = LL_GPIO_MODE_OUTPUT;
  GPIO_InitStruct.Speed = LL_GPIO_SPEED_FREQ_LOW;
  GPIO_InitStruct.OutputType = LL_GPIO_OUTPUT_PUSHPULL;
  GPIO_InitStruct.Pull = LL_GPIO_PULL_NO;
  LL_GPIO_Init(SERVO1_GPIO_Port, &GPIO_InitStruct);

  /**/
  GPIO_InitStruct.Pin = SERVO2_Pin;
  GPIO_InitStruct.Mode = LL_GPIO_MODE_OUTPUT;
  GPIO_InitStruct.Speed = LL_GPIO_SPEED_FREQ_VERY_HIGH;
  GPIO_InitStruct.OutputType = LL_GPIO_OUTPUT_PUSHPULL;
  GPIO_InitStruct.Pull = LL_GPIO_PULL_NO;
  LL_GPIO_Init(SERVO2_GPIO_Port, &GPIO_InitStruct);

  /**/
  GPIO_InitStruct.Pin = LL_GPIO_PIN_13;
  GPIO_InitStruct.Mode = LL_GPIO_MODE_ALTERNATE;
  GPIO_InitStruct.Speed = LL_GPIO_SPEED_FREQ_VERY_HIGH;
  GPIO_InitStruct.OutputType = LL_GPIO_OUTPUT_PUSHPULL;
  GPIO_InitStruct.Pull = LL_GPIO_PULL_NO;
  GPIO_InitStruct.Alternate = LL_GPIO_AF_5;
  LL_GPIO_Init(GPIOB, &GPIO_InitStruct);

  /**/
  GPIO_InitStruct.Pin = SERVO4_Pin;
  GPIO_InitStruct.Mode = LL_GPIO_MODE_OUTPUT;
  GPIO_InitStruct.Speed = LL_GPIO_SPEED_FREQ_VERY_HIGH;
  GPIO_InitStruct.OutputType = LL_GPIO_OUTPUT_PUSHPULL;
  GPIO_InitStruct.Pull = LL_GPIO_PULL_NO;
  LL_GPIO_Init(SERVO4_GPIO_Port, &GPIO_InitStruct);

  /**/
  GPIO_InitStruct.Pin = CS_EXT_3_Pin;
  GPIO_InitStruct.Mode = LL_GPIO_MODE_OUTPUT;
  GPIO_InitStruct.Speed = LL_GPIO_SPEED_FREQ_LOW;
  GPIO_InitStruct.OutputType = LL_GPIO_OUTPUT_PUSHPULL;
  GPIO_InitStruct.Pull = LL_GPIO_PULL_UP;
  LL_GPIO_Init(CS_EXT_3_GPIO_Port, &GPIO_InitStruct);

  /**/
  GPIO_InitStruct.Pin = CS_EXT_2_Pin;
  GPIO_InitStruct.Mode = LL_GPIO_MODE_OUTPUT;
  GPIO_InitStruct.Speed = LL_GPIO_SPEED_FREQ_LOW;
  GPIO_InitStruct.OutputType = LL_GPIO_OUTPUT_PUSHPULL;
  GPIO_InitStruct.Pull = LL_GPIO_PULL_UP;
  LL_GPIO_Init(CS_EXT_2_GPIO_Port, &GPIO_InitStruct);

  /**/
  GPIO_InitStruct.Pin = RGB_B_Pin;
  GPIO_InitStruct.Mode = LL_GPIO_MODE_OUTPUT;
  GPIO_InitStruct.Speed = LL_GPIO_SPEED_FREQ_LOW;
  GPIO_InitStruct.OutputType = LL_GPIO_OUTPUT_OPENDRAIN;
  GPIO_InitStruct.Pull = LL_GPIO_PULL_NO;
  LL_GPIO_Init(RGB_B_GPIO_Port, &GPIO_InitStruct);

  /**/
  GPIO_InitStruct.Pin = RGB_G_Pin;
  GPIO_InitStruct.Mode = LL_GPIO_MODE_OUTPUT;
  GPIO_InitStruct.Speed = LL_GPIO_SPEED_FREQ_LOW;
  GPIO_InitStruct.OutputType = LL_GPIO_OUTPUT_OPENDRAIN;
  GPIO_InitStruct.Pull = LL_GPIO_PULL_NO;
  LL_GPIO_Init(RGB_G_GPIO_Port, &GPIO_InitStruct);

  /* EXTI interrupt init*/
  NVIC_SetPriority(EXTI15_10_IRQn, NVIC_EncodePriority(NVIC_GetPriorityGrouping(),0, 0));
  NVIC_EnableIRQ(EXTI15_10_IRQn);

}

 /* MPU Configuration */

void MPU_Config(void)
{
  MPU_Region_InitTypeDef MPU_InitStruct = {0};

  /* Disables the MPU */
  HAL_MPU_Disable();

  /** Initializes and configures the Region and the memory to be protected
  */
  MPU_InitStruct.Enable = MPU_REGION_ENABLE;
  MPU_InitStruct.Number = MPU_REGION_NUMBER0;
  MPU_InitStruct.BaseAddress = 0x0;
  MPU_InitStruct.Size = MPU_REGION_SIZE_4GB;
  MPU_InitStruct.SubRegionDisable = 0x87;
  MPU_InitStruct.TypeExtField = MPU_TEX_LEVEL0;
  MPU_InitStruct.AccessPermission = MPU_REGION_NO_ACCESS;
  MPU_InitStruct.DisableExec = MPU_INSTRUCTION_ACCESS_DISABLE;
  MPU_InitStruct.IsShareable = MPU_ACCESS_SHAREABLE;
  MPU_InitStruct.IsCacheable = MPU_ACCESS_NOT_CACHEABLE;
  MPU_InitStruct.IsBufferable = MPU_ACCESS_NOT_BUFFERABLE;

  HAL_MPU_ConfigRegion(&MPU_InitStruct);
  /* Enables the MPU */
  HAL_MPU_Enable(MPU_PRIVILEGED_DEFAULT);

}

void Error_Handler(void)
{
  __disable_irq();
  while (1)
  {
  }
}
